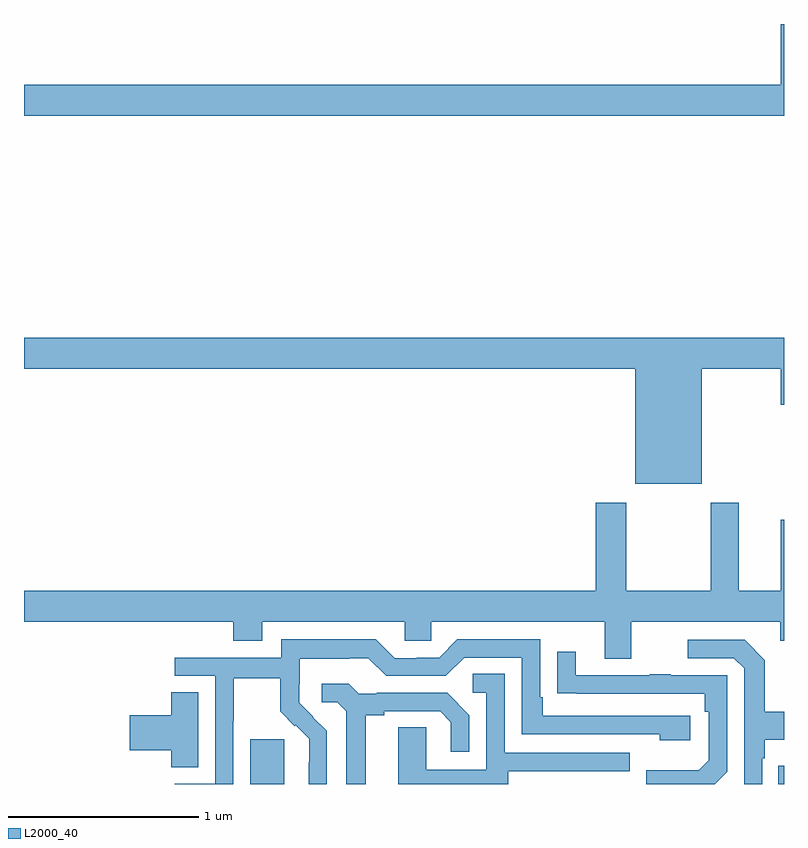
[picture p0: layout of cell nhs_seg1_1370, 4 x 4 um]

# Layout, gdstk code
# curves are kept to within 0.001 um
import gdstk
lib = gdstk.Library(unit=1e-6, precision=1e-09)
def R(c, l, rs):  # rectangles x0, y0, x1, y1
    for r in rs: c.add(gdstk.rectangle(r[:2], r[2:], *l))
def P(c, l, *ps):  # polygons
    for p in ps: c.add(gdstk.Polygon(p, *l))
L2000_40 = (2000, 40)

nhs_seg1_1370 = lib.new_cell('nhs_seg1_1370')
R(nhs_seg1_1370, L2000_40, [(186.191,564.199,186.37,564.435), (188.971,564.199,189,564.295)])
P(nhs_seg1_1370, L2000_40, [(189,568.199),(188.984,568.199),(188.984,567.88),(185,567.88),(185,567.716),(189,567.716)],
  [(188.566,566.384),(188.984,566.384),(188.984,566.196),(189,566.196),(189,566.548),(185,566.548),(185,566.384),(188.216,566.384),(188.216,565.778),(188.566,565.778)],
  [(188.197,565.052),(188.981,565.052),(188.981,564.953),(189,564.953),(189,565.591),(188.984,565.591),(188.984,565.216),(188.761,565.216),(188.761,565.678),(188.614,565.678),(188.614,565.216),(188.169,565.216),(188.169,565.678),(188.009,565.678),(188.009,565.216),(185,565.216),(185,565.052),(186.101,565.052),(186.101,564.953),(186.253,564.953),(186.253,565.052),(187.005,565.052),(187.005,564.954),(187.143,564.954),(187.143,565.052),(188.057,565.052),(188.057,564.858),(188.197,564.858)],
  [(186.102,564.532),(186.105,564.532),(186.105,564.756),(186.349,564.756),(186.349,564.581),(186.426,564.504),(186.429,564.507),(186.5,564.437),(186.5,564.314),(186.498,564.314),(186.498,564.199),(186.594,564.199),(186.594,564.478),(186.448,564.626),(186.448,564.723),(186.45,564.723),(186.45,564.857),(186.713,564.857),(186.713,564.861),(186.813,564.861),(186.906,564.768),(187.221,564.768),(187.317,564.864),(187.62,564.864),(187.62,564.462),(188.345,564.462),(188.345,564.428),(188.506,564.428),(188.506,564.558),(187.729,564.558),(187.729,564.655),(187.716,564.655),(187.716,564.96),(187.281,564.96),(187.185,564.864),(187.067,564.864),(187.067,564.861),(186.951,564.861),(186.851,564.961),(186.354,564.961),(186.354,564.864),(185.793,564.864),(185.793,564.768),(186.006,564.768),(186.006,564.201),(185.793,564.201),(185.793,564.199),(186.102,564.199)],
  [(188.886,564.335),(188.899,564.335),(188.899,564.431),(189,564.431),(189,564.579),(188.899,564.579),(188.899,564.851),(188.793,564.957),(188.493,564.957),(188.493,564.861),(188.736,564.861),(188.79,564.807),(188.79,564.199),(188.886,564.199)],
  [(188.7,564.264),(188.7,564.771),(188.405,564.771),(188.405,564.776),(188.293,564.776),(188.293,564.771),(187.903,564.771),(187.903,564.895),(187.807,564.895),(187.807,564.676),(188.584,564.675),(188.584,564.578),(188.604,564.578),(188.604,564.324),(188.551,564.271),(188.274,564.271),(188.274,564.199),(188.635,564.199)],
  [(187.549,564.267),(188.189,564.267),(188.189,564.363),(187.53,564.363),(187.53,564.779),(187.362,564.779),(187.362,564.678),(187.434,564.678),(187.434,564.273),(187.116,564.273),(187.116,564.497),(186.971,564.497),(186.971,564.199),(187.549,564.199)],
  [(186.799,564.56),(186.895,564.56),(186.895,564.582),(187.19,564.582),(187.247,564.525),(187.247,564.369),(187.344,564.369),(187.344,564.562),(187.228,564.678),(186.856,564.678),(186.856,564.675),(186.762,564.675),(186.71,564.727),(186.567,564.727),(186.567,564.63),(186.648,564.63),(186.695,564.583),(186.695,564.199),(186.799,564.199)],
  [(185.917,564.683),(185.774,564.683),(185.774,564.56),(185.556,564.56),(185.556,564.377),(185.774,564.377),(185.774,564.286),(185.917,564.286)])

lib.write_gds('nhs_seg1_1370.gds')
